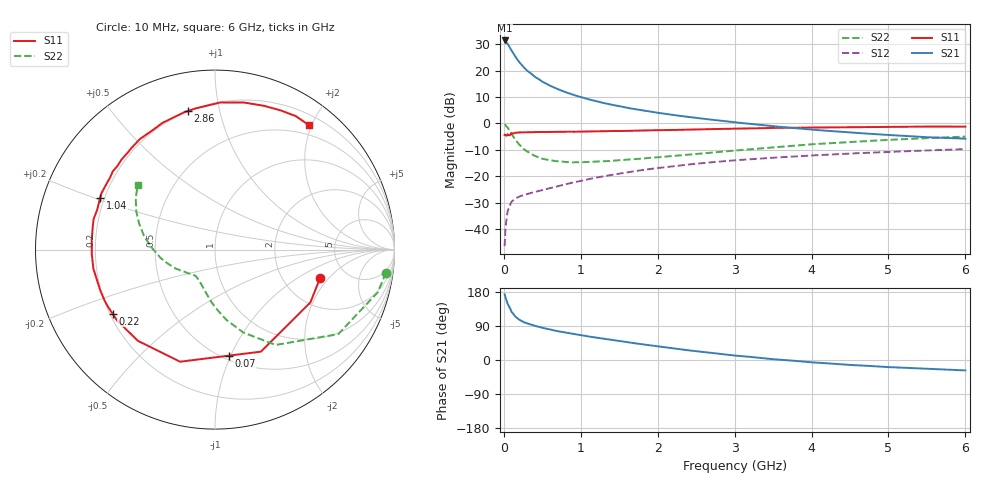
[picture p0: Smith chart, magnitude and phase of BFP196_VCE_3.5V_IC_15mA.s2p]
! Infineon Technologies  Discrete & RF Semiconductors
! BFP196
! VCE = 3.5 V,  IC =  15mA
! Common Emitter S-Parameters:  Jan 2016
# GHz  S  MA  R  50
!  f  S11  S21  S12  S22
! GHz  MAG  ANG  MAG  ANG  MAG  ANG  MAG  ANG
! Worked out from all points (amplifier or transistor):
!   210 points, 10 MHz to 6 GHz, reference 50 ohm
!   highest |S21| = 31.4 dB at 10 MHz (marker M1)
!   |S21| within 3 dB of that: start of sweep to 83.4 MHz
!   unconditionally stable (mu >= 1): 769.8 MHz to 3.43 GHz
!   at 185 MHz: K = 0.40, MSG = 25.9 dB, |S12| = -28.0 dB
!   at 1.52 GHz: K = 1.13, MAG = 10.5 dB, |S12| = -19.0 dB
!   at 6 GHz: K = 0.96, MSG = 2.0 dB, |S12| = -9.8 dB
!   S11 on the Smith chart (normalised r, x): 10 MHz: 3.21, -1.61; 70 MHz: 0.54, -0.98; 220 MHz: 0.21, -0.27; 1.04 GHz: 0.18, +0.21; 2.86 GHz: 0.20, +0.80; 6 GHz: 0.35, +1.95
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0.01  0.6066 -15.1  37.33 173.5  0.0047 85.5  0.9617 -7.7
0.02  0.6076 -29.0  36.07 165.6  0.0094 78.2  0.9373 -14.7
0.05  0.6235 -65.8  32.19 147.8  0.0217 62.4  0.833 -34.4
0.07  0.5959 -82.7  28.56 140.9  0.0259 55.2  0.7382 -42.1
0.1  0.6542 -107.3  24.2 126.9  0.0328 48.0  0.6299 -57.5
0.15  0.6656 -130.2  18.29 114.3  0.0378 41.2  0.4876 -71.2
0.2  0.6736 -144.2  14.56 106.3  0.041 38.2  0.3958 -80.9
0.22  0.6732 -148.0  13.48 104.3  0.042 37.9  0.3701 -83.5
0.26  0.6774 -155.1  11.52 99.8  0.0438 37.5  0.3256 -89.1
0.3  0.6785 -160.8  10.08 96.5  0.0456 37.8  0.2957 -93.5
0.4  0.6859 -171.1  7.71 90.2  0.05 39.4  0.2429 -102.5
0.5  0.6869 -177.9  6.185 85.0  0.0541 41.6  0.214 -109.4
0.7  0.6925 170.0  4.468 76.0  0.0643 45.4  0.1909 -118.6
1.02  0.7007 156.3  3.089 64.8  0.0824 48.6  0.1837 -128.8
1.04  0.702 155.6  3.032 64.2  0.0836 48.7  0.1842 -129.3
1.4  0.7174 142.5  2.257 53.1  0.1053 48.7  0.1948 -136.9
2.02  0.7447 123.5  1.573 35.6  0.1435 44.9  0.2288 -150.4
2.86  0.787 101.0  1.106 15.1  0.1918 36.5  0.2928 -168.3
3.1  0.7971 95.9  1.013 10.0  0.2042 33.6  0.3137 -173.3
4.1  0.8363 77.2  0.742 -7.3  0.2505 22.3  0.4093 167.7
5.1  0.8596 63.3  0.592 -19.5  0.2917 11.3  0.4945 152.6
6  0.8683 53.1  0.513 -27.5  0.3254 1.0  0.5613 140.0
